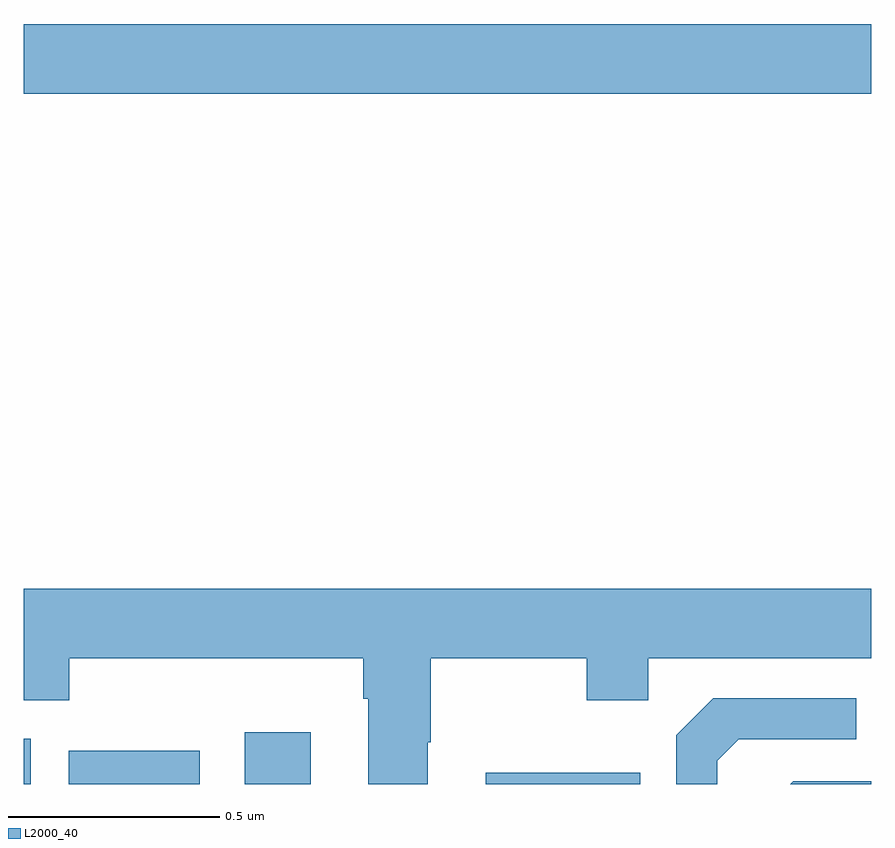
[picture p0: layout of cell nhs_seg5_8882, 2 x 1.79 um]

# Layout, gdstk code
import gdstk
lib = gdstk.Library(unit=1e-6, precision=1e-09)
def R(c, l, rs):  # rectangles x0, y0, x1, y1
    for r in rs: c.add(gdstk.rectangle(r[:2], r[2:], *l))
def P(c, l, *ps):  # polygons
    for p in ps: c.add(gdstk.Polygon(p, *l))
L2000_40 = (2000, 40)

nhs_seg5_8882 = lib.new_cell('nhs_seg5_8882')
R(nhs_seg5_8882, L2000_40, [(227,853.799,227.017,853.906), (227.106,853.799,227.416,853.878), (227.522,853.799,227.677,853.921), (228.09,853.799,228.455,853.825), (227,855.428,229,855.592)])
P(nhs_seg5_8882, L2000_40, [(227.953,853.897),(227.961,853.897),(227.961,854.096),(228.328,854.096),(228.328,853.997),(228.474,853.997),(228.474,854.096),(229,854.096),(229,854.26),(227,854.26),(227,853.997),(227.108,853.997),(227.108,854.096),(227.801,854.096),(227.801,854),(227.813,854),(227.813,853.799),(227.953,853.799)],
  [(228.636,853.854),(228.687,853.905),(228.964,853.905),(228.964,854.001),(228.627,854.001),(228.54,853.914),(228.54,853.799),(228.636,853.799)],
  [(229,853.806),(228.816,853.806),(228.809,853.799),(229,853.799)])

lib.write_gds('nhs_seg5_8882.gds')
